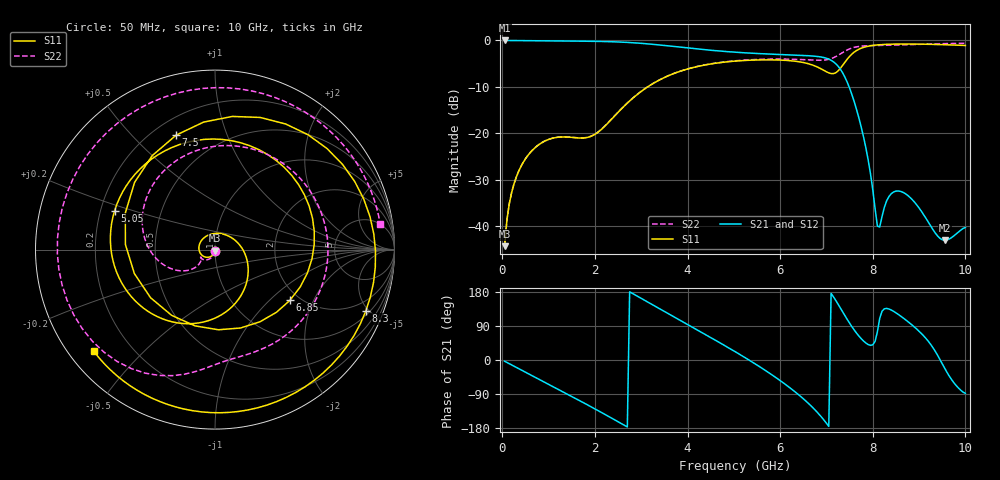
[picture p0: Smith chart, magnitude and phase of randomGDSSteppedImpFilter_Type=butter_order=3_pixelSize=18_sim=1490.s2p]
! freq	dB(S11)	phase(S11)	dB(S12)	phase(S12)
!  dB(S21)	phase(S21)	dB(S22)	phase(S22)
!S-par simulation data
#  GHz  S  DB  R 50
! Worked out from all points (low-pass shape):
!   200 points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, 50 MHz to 10 GHz, reference 50 ohm
!   highest |S21| = -0.01 dB at 50 MHz (marker M1); lowest = -43.1 dB at 9.55 GHz (marker M2)
!   |S21| within 3 dB of the highest: start of sweep to 5.922 GHz
!   lowest |S11| = -44.3 dB at 50 MHz (marker M3), VSWR 1.01, Z = 50 - j0.607 ohm
!   |S11| at or under -10 dB: start of sweep to 3.141 GHz
!   |S22| runs from -44.3 to -0.6 dB; largest |S21 - S12| = 0
!   S11 on the Smith chart (normalised r, x): 50 MHz: 1.00, -0.01; 5.05 GHz: 0.26, +0.18; 6.85 GHz: 1.78, -1.35; 7.5 GHz: 0.29, +0.68; 8.3 GHz: 1.25, -4.82; 10 GHz: 0.07, -0.36
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0.05  -44.33 -87.9  -0.01 -3.3  -0.01 -3.3  -44.31 -86.9
0.2  -32.85 -104.1  -0.02 -12.9  -0.02 -12.9  -32.83 -99.8
0.55  -24.82 -131.9  -0.06 -35.2  -0.06 -35.2  -24.80 -119.1
1.15  -20.93 176.9  -0.13 -73.5  -0.13 -73.5  -20.92 -145.4
1.75  -21.03 103.7  -0.17 -112.4  -0.17 -112.4  -21.00 -150.1
2.6  -14.47 -18.8  -0.38 -169.8  -0.38 -169.8  -14.43 -142.5
3.4  -8.49 -88.1  -0.99 134.9  -0.99 134.9  -8.47 176.5
4.15  -5.77 -140.5  -1.78 83.3  -1.78 83.3  -5.75 126.5
5.05  -4.44 158.7  -2.55 20.4  -2.55 20.4  -4.37 61.9
6  -4.24 81.4  -3.04 -54.3  -3.04 -54.3  -4.02 -9.4
6.7  -5.31 -5.4  -3.36 -125.0  -3.36 -125.0  -4.24 -62.2
6.85  -5.95 -34.1  -3.52 -144.5  -3.52 -144.5  -4.28 -72.7
7.15  -7.15 -123.5  -4.60 167.0  -4.60 167.0  -3.73 -92.1
7.35  -5.36 157.8  -6.99 127.1  -6.99 127.1  -2.60 -108.6
7.5  -3.43 108.8  -10.30 97.1  -10.30 97.1  -1.82 -125.1
7.8  -1.51 42.0  -20.77 50.2  -20.77 50.2  -1.20 -161.1
8.1  -0.97 -0.5  -40.00 74.7  -40.00 74.7  -1.09 164.7
8.3  -0.85 -22.0  -34.55 136.2  -34.55 136.2  -1.05 143.2
8.35  -0.83 -26.9  -33.63 134.6  -33.63 134.6  -1.04 138.0
8.9  -0.79 -71.5  -34.84 87.0  -34.84 87.0  -0.88 85.4
9.55  -0.92 -113.1  -43.06 -21.2  -43.06 -21.2  -0.69 35.8
10  -1.10 -140.1  -40.31 -88.0  -40.31 -88.0  -0.62 8.8
